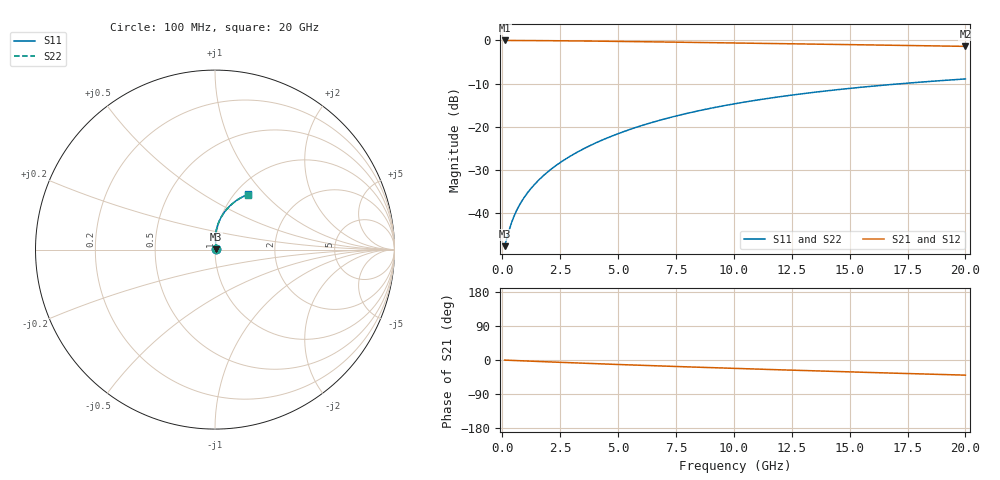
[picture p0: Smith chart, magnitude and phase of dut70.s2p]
! Touchstone file exported from HFSS 2024.1.0
!  File:  C:/UserFiles/LocalFiles/RDL_TSV_Batchsim/temp_RDL_top_70_1778682093.aedt
!  Generated:  10:23:47 PM May 13, 2026
!  Design:  RDL_top
!  Project:  temp_RDL_top_70_1778682093
!  Setup:  Setup1
!  Solution:  Sweep
! Variables:
!  dtsv = 10.80580581um
!  hbump = 3um
!  htsv = 53.36um
!  ldown = 100um
!  lrdl = 550.99um
!  p = 40
!  p1 = 56.52um
!  rhole = 1um
!  t = 450um
!  tdown = 3.915915916um
!  trdl = 2.06um
!  wdown = 15.38538539um
!  wrdl = 27.92um
# GHz S MA R 50.000000
! Terminal data exported
! Port[1] = Box2_T1
! Port[2] = Box2_T2
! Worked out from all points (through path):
!   200 points, 100 MHz to 20 GHz, reference 50 ohm
!   highest |S21| = -0.03 dB at 100 MHz (marker M1); lowest = -1.4 dB at 20 GHz (marker M2)
!   group delay of S21, straight-line fit = 5.48 ps
!   lowest |S11| = -47.6 dB at 100 MHz (marker M3), VSWR 1.01, Z = 50.4 + j0.173 ohm
!   |S11| at or under -10 dB: start of sweep to 17.29 GHz
!   |S22| runs from -47.6 to -8.9 dB; largest |S21 - S12| = 3.4e-15
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0.1  0.004159 24.3  0.9962 -0.3  0.9962 -0.3  0.004159 24.3
! Gamma 0 0 0 0
! Port Impedance 50 0 50 0
0.3  0.006431 51.0  0.9958 -0.8  0.9958 -0.8  0.006431 51.0
0.4  0.007777 57.4  0.9956 -1.0  0.9956 -1.0  0.007777 57.4
0.5  0.00914 61.7  0.9953 -1.3  0.9953 -1.3  0.00914 61.7
0.6  0.0105 65.0  0.995 -1.5  0.995 -1.5  0.0105 65.0
0.7  0.01186 67.7  0.9947 -1.8  0.9947 -1.8  0.01186 67.7
0.9  0.0146 71.7  0.9942 -2.3  0.9942 -2.3  0.0146 71.7
1.2  0.01879 76.1  0.9933 -3.0  0.9933 -3.0  0.01879 76.0
1.7  0.02607 80.7  0.9916 -4.2  0.9916 -4.2  0.02607 80.6
2.2  0.03373 83.5  0.9894 -5.4  0.9894 -5.4  0.03373 83.5
2.8  0.04344 85.6  0.9863 -6.9  0.9863 -6.9  0.04344 85.6
3.5  0.05543 86.9  0.9822 -8.5  0.9822 -8.5  0.05543 86.9
4.2  0.06808 87.4  0.9775 -10.1  0.9775 -10.1  0.06807 87.4
5  0.08321 87.3  0.9717 -11.9  0.9717 -11.9  0.08319 87.2
5.9  0.1009 86.5  0.9648 -13.8  0.9648 -13.8  0.1008 86.5
6.8  0.119 85.3  0.9577 -15.7  0.9577 -15.7  0.1189 85.2
8.4  0.1515 82.4  0.9449 -18.9  0.9449 -18.9  0.1515 82.4
10.1  0.1858 79.0  0.9313 -22.3  0.9313 -22.3  0.1858 79.0
11.7  0.2172 75.6  0.9184 -25.3  0.9184 -25.3  0.2171 75.6
13.4  0.2492 72.1  0.9046 -28.5  0.9046 -28.5  0.2491 72.1
16.7  0.3066 65.4  0.8778 -34.4  0.8778 -34.4  0.3065 65.4
20  0.3574 59.2  0.8512 -40.0  0.8512 -40.0  0.3572 59.2
